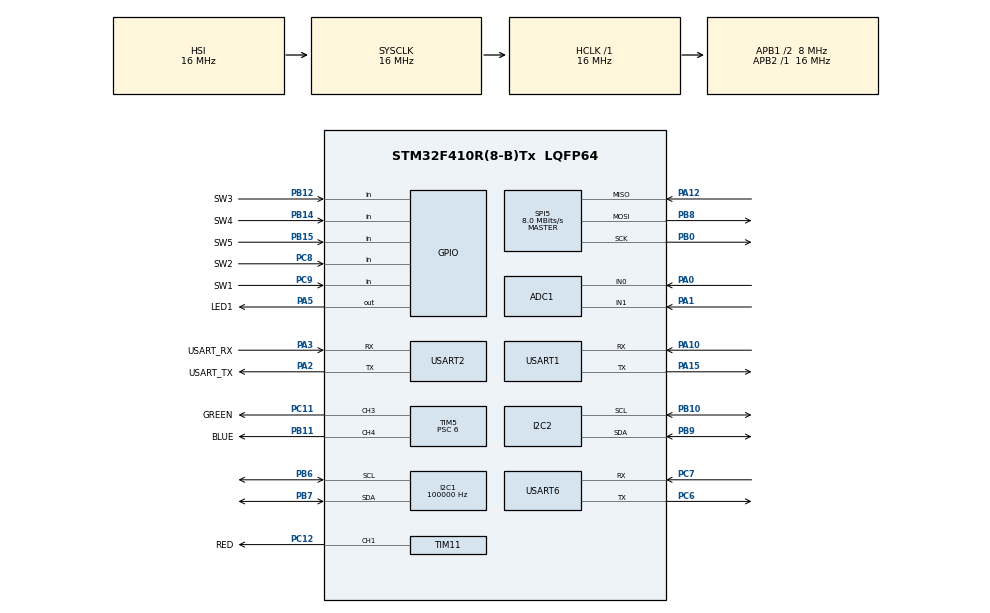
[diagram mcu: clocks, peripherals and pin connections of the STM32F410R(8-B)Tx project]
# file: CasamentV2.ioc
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ADC1.Channel-0\#ChannelRegularConversion=ADC_CHANNEL_0
ADC1.NbrOfConversionFlag=1
ADC1.Rank-0\#ChannelRegularConversion=1
ADC1.SamplingTime-0\#ChannelRegularConversion=ADC_SAMPLETIME_3CYCLES
ADC1.master=1
I2C1.ClockSpeed=100000
I2C1.I2C_Mode=I2C_Standard
Mcu.Family=STM32F4
Mcu.Name=STM32F410R(8-B)Tx
Mcu.Package=LQFP64
NVIC.PriorityGroup=NVIC_PRIORITYGROUP_0
PA0-WKUP.Signal=ADCx_IN0
PA1.Signal=ADCx_IN1
PA10.Mode=Asynchronous
PA10.Signal=USART1_RX
PA12.Mode=Full_Duplex_Master
PA12.Signal=SPI5_MISO
PA13.GPIO_Label=TMS
PA13.Mode=Serial_Wire
PA13.Signal=SYS_JTMS-SWDIO
PA14.GPIO_Label=TCK
PA14.Mode=Serial_Wire
PA14.Signal=SYS_JTCK-SWCLK
PA15.Mode=Asynchronous
PA15.Signal=USART1_TX
PA2.GPIO_Label=USART_TX
PA2.Mode=Asynchronous
PA2.Signal=USART2_TX
PA3.GPIO_Label=USART_RX
PA3.Mode=Asynchronous
PA3.Signal=USART2_RX
PA5.GPIO_Label=LED1
PA5.Signal=GPIO_Output
PB0.Mode=Full_Duplex_Master
PB0.Signal=SPI5_SCK
PB10.Mode=I2C
PB10.Signal=I2C2_SCL
PB11.GPIO_Label=BLUE
PB11.Signal=S_TIM5_CH4
PB12.GPIO_Label=SW3
PB12.GPIO_PuPd=GPIO_PULLDOWN
PB12.Signal=GPIO_Input
PB14.GPIO_Label=SW4
PB14.GPIO_PuPd=GPIO_PULLDOWN
PB14.Signal=GPIO_Input
PB15.GPIO_Label=SW5
PB15.GPIO_PuPd=GPIO_PULLDOWN
PB15.Signal=GPIO_Input
PB3.GPIO_Label=SWO
PB3.Signal=SYS_JTDO-SWO
PB6.Mode=I2C
PB6.Signal=I2C1_SCL
PB7.Mode=I2C
PB7.Signal=I2C1_SDA
PB8.Mode=Full_Duplex_Master
PB8.Signal=SPI5_MOSI
PB9.Mode=I2C
PB9.Signal=I2C2_SDA
PC11.GPIO_Label=GREEN
PC11.Signal=S_TIM5_CH3
PC12.GPIO_Label=RED
PC12.Signal=S_TIM11_CH1
PC14-OSC32_IN.Mode=LSE-External-Oscillator
PC14-OSC32_IN.Signal=RCC_OSC32_IN
PC15-OSC32_OUT.Mode=LSE-External-Oscillator
PC15-OSC32_OUT.Signal=RCC_OSC32_OUT
PC6.Mode=Asynchronous
PC6.Signal=USART6_TX
PC7.Mode=Asynchronous
PC7.Signal=USART6_RX
PC8.GPIO_Label=SW2
PC8.GPIO_PuPd=GPIO_PULLDOWN
PC8.Signal=GPIO_Input
PC9.GPIO_Label=SW1
PC9.GPIO_Mode=GPIO_MODE_INPUT
PC9.GPIO_PuPd=GPIO_PULLDOWN
PC9.Signal=GPIO_Input
ProjectManager.HeapSize=0x200
ProjectManager.StackSize=0x400
ProjectManager.TargetToolchain=STM32CubeIDE
RCC.48MHZClocksFreq_Value=50000000
RCC.AHBFreq_Value=16000000
RCC.APB1CLKDivider=RCC_HCLK_DIV2
RCC.APB1Freq_Value=8000000
RCC.APB1TimFreq_Value=16000000
RCC.APB2Freq_Value=16000000
RCC.APB2TimFreq_Value=16000000
RCC.CortexFreq_Value=16000000
RCC.FLatency-AdvancedSettings=FLASH_LATENCY_0
RCC.HCLKFreq_Value=16000000
RCC.HSE_VALUE=8000000
RCC.HSI_VALUE=16000000
RCC.PLLM=8
RCC.PLLN=100
RCC.RCC_RTC_Clock_SourceVirtual=RCC_RTCCLKSOURCE_LSE
RCC.SYSCLKFreq_VALUE=16000000
RCC.VCOOutputFreq_Value=200000000
RTC.Format=RTC_FORMAT_BIN
SH.ADCx_IN0.0=ADC1_IN0,IN0
SH.ADCx_IN1.0=ADC1_IN1,IN1
SH.S_TIM11_CH1.0=TIM11_CH1,PWM Generation1 CH1
SH.S_TIM5_CH3.0=TIM5_CH3,PWM Generation3 CH3
SH.S_TIM5_CH4.0=TIM5_CH4,PWM Generation4 CH4
SPI5.CalculateBaudRate=8.0 MBits/s
SPI5.Direction=SPI_DIRECTION_2LINES
SPI5.Mode=SPI_MODE_MASTER
SPI5.VirtualType=VM_MASTER
TIM11.Channel=TIM_CHANNEL_1
TIM11.Period=255
TIM11.Prescaler=6
TIM11.Pulse=0
TIM5.Channel-PWM\ Generation3\ CH3=TIM_CHANNEL_3
TIM5.Channel-PWM\ Generation4\ CH4=TIM_CHANNEL_4
TIM5.Period=255
TIM5.Prescaler=6
USART1.OverSampling=UART_OVERSAMPLING_16
USART1.VirtualMode=VM_ASYNC
USART2.VirtualMode=VM_ASYNC
USART6.VirtualMode=VM_ASYNC
VP_RTC_VS_RTC_Activate.Mode=RTC_Enabled
VP_RTC_VS_RTC_Calendar.Mode=RTC_Calendar
VP_TIM11_VS_ClockSourceINT.Mode=Enable_Timer
board=NUCLEO-F410RB

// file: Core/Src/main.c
/* USER CODE BEGIN Header */
/**
  ******************************************************************************
  * @file           : main.c
  * @brief          : Main program body
  ******************************************************************************
  * @attention
  *
  * Copyright (c) 2023 STMicroelectronics.
  * All rights reserved.
  *
  * This software is licensed under terms that can be found in the LICENSE file
  * in the root directory of this software component.
  * If no LICENSE file comes with this software, it is provided AS-IS.
  *
  ******************************************************************************
  */
/* USER CODE END Header */
#include "main.h"

/* USER CODE BEGIN PD */
//colors

/* USER CODE END PD */

ADC_HandleTypeDef hadc1;

I2C_HandleTypeDef hi2c1;
I2C_HandleTypeDef hi2c2;

RTC_HandleTypeDef hrtc;

SPI_HandleTypeDef hspi5;

TIM_HandleTypeDef htim5;
TIM_HandleTypeDef htim11;

UART_HandleTypeDef huart1;
UART_HandleTypeDef huart2;
UART_HandleTypeDef huart6;

/* USER CODE BEGIN PV */
uint8_t var1 = 0;
//UART1=J3
//UART6=J2
//UART2=ICSP
int __io_putchar(int ch){
	HAL_UART_Transmit(&huart2, (uint8_t *)&ch, 1, 100);
	return ch;
}

uint8_t actualzarhora = 0;
//variables snake
extern int score;
//veriables del menu
bool snake_en = false; //engenga la pantalla de l'snake.
bool simon_en = false;
bool boad_en = false;
//veriable del simon
uint8_t control_error = 0;

/* USER CODE END PV */

void SystemClock_Config(void);
static void MX_GPIO_Init(void);
static void MX_USART2_UART_Init(void);
static void MX_TIM11_Init(void);
static void MX_TIM5_Init(void);
static void MX_I2C1_Init(void);
static void MX_USART1_UART_Init(void);
static void MX_USART6_UART_Init(void);
static void MX_RTC_Init(void);
static void MX_ADC1_Init(void);
static void MX_I2C2_Init(void);
static void MX_SPI5_Init(void);

int main(void)
{

  /* MCU Configuration--------------------------------------------------------*/

  /* Reset of all peripherals, Initializes the Flash interface and the Systick. */
  HAL_Init();

  /* Configure the system clock */
  SystemClock_Config();

  /* Initialize all configured peripherals */
  MX_GPIO_Init();
  MX_USART2_UART_Init();
  MX_TIM11_Init();
  MX_TIM5_Init();
  MX_I2C1_Init();
  MX_USART1_UART_Init();
  MX_USART6_UART_Init();
  MX_RTC_Init();
  MX_ADC1_Init();
  MX_I2C2_Init();
  MX_SPI5_Init();
  /* USER CODE BEGIN 2 */
  init_RGB();
  ssd1306_Init();
  //iniciar la serp
  init_snake();

  /* USER CODE END 2 */

  /* Infinite loop */
  /* USER CODE BEGIN WHILE */
  printf("A&E Bodorrio Hw 1.2 \r\n");
  while (1)
  {
    /* USER CODE END WHILE */

    /* USER CODE BEGIN 3 */
/*
	  if(HAL_GPIO_ReadPin(SW1_GPIO_Port, SW1_Pin)){
		  LED_RGB(vermell);
	  }
	  else if(HAL_GPIO_ReadPin(SW2_GPIO_Port, SW2_Pin)){
		  LED_RGB(verd);
	  }
	  else if(HAL_GPIO_ReadPin(SW3_GPIO_Port, SW3_Pin)){
	  		  LED_RGB(blau);
	  	  }
	  else if(HAL_GPIO_ReadPin(SW4_GPIO_Port, SW4_Pin)){
	  		  LED_RGB(rosa);
	  	  }
	  else if(HAL_GPIO_ReadPin(SW5_GPIO_Port, SW5_Pin)){
	  		  LED_RGB(groc);
	  	  }

	  else{
		  LED_RGB(blanc);
	  }
*/
	  //joc del snake
	  if(!snake_en && !simon_en && !boad_en){
		  //menu principal, posar la hora i el boto incial.
		  //LED_RGB(vermell);
		  hora();
		  //printf("hola\r\n");

		  //score = 0;
		  menu();
	  }
	  if(snake_en){
		  update_grid();
		  check_food();
		  move_snake();
		  check_collision(false);
		  wait_check();
	  }
	  if(boad_en){
		  boad_init(true);
		  boad_matrix_build();
		  Boat_Send_matrix(0x34, 0x88);
		  update_OLED();
	  }
	  if(simon_en){
		  //test_led();
		  //test_random_LED();
		  Led_Sequence();
		  control_error = SW_Sequence ();
		  if(control_error == 100){
			  init_simon();
		  }
		  HAL_Delay(200);
	  }
	  //HAL_Delay(200);

  }
  /* USER CODE END 3 */
}

void SystemClock_Config(void)
{
  RCC_OscInitTypeDef RCC_OscInitStruct = {0};
  RCC_ClkInitTypeDef RCC_ClkInitStruct = {0};

  /** Configure the main internal regulator output voltage
  */
  __HAL_RCC_PWR_CLK_ENABLE();
  __HAL_PWR_VOLTAGESCALING_CONFIG(PWR_REGULATOR_VOLTAGE_SCALE1);

  /** Initializes the RCC Oscillators according to the specified parameters
  * in the RCC_OscInitTypeDef structure.
  */
  RCC_OscInitStruct.OscillatorType = RCC_OSCILLATORTYPE_HSI|RCC_OSCILLATORTYPE_LSE;
  RCC_OscInitStruct.LSEState = RCC_LSE_ON;
  RCC_OscInitStruct.HSIState = RCC_HSI_ON;
  RCC_OscInitStruct.HSICalibrationValue = RCC_HSICALIBRATION_DEFAULT;
  RCC_OscInitStruct.PLL.PLLState = RCC_PLL_NONE;
  if (HAL_RCC_OscConfig(&RCC_OscInitStruct) != HAL_OK)
  {
    Error_Handler();
  }

  /** Initializes the CPU, AHB and APB buses clocks
  */
  RCC_ClkInitStruct.ClockType = RCC_CLOCKTYPE_HCLK|RCC_CLOCKTYPE_SYSCLK
                              |RCC_CLOCKTYPE_PCLK1|RCC_CLOCKTYPE_PCLK2;
  RCC_ClkInitStruct.SYSCLKSource = RCC_SYSCLKSOURCE_HSI;
  RCC_ClkInitStruct.AHBCLKDivider = RCC_SYSCLK_DIV1;
  RCC_ClkInitStruct.APB1CLKDivider = RCC_HCLK_DIV2;
  RCC_ClkInitStruct.APB2CLKDivider = RCC_HCLK_DIV1;

  if (HAL_RCC_ClockConfig(&RCC_ClkInitStruct, FLASH_LATENCY_0) != HAL_OK)
  {
    Error_Handler();
  }
}

static void MX_ADC1_Init(void)
{

  ADC_ChannelConfTypeDef sConfig = {0};

  /** Configure the global features of the ADC (Clock, Resolution, Data Alignment and number of conversion)
  */
  hadc1.Instance = ADC1;
  hadc1.Init.ClockPrescaler = ADC_CLOCK_SYNC_PCLK_DIV2;
  hadc1.Init.Resolution = ADC_RESOLUTION_12B;
  hadc1.Init.ScanConvMode = DISABLE;
  hadc1.Init.ContinuousConvMode = DISABLE;
  hadc1.Init.DiscontinuousConvMode = DISABLE;
  hadc1.Init.ExternalTrigConvEdge = ADC_EXTERNALTRIGCONVEDGE_NONE;
  hadc1.Init.ExternalTrigConv = ADC_SOFTWARE_START;
  hadc1.Init.DataAlign = ADC_DATAALIGN_RIGHT;
  hadc1.Init.NbrOfConversion = 1;
  hadc1.Init.DMAContinuousRequests = DISABLE;
  hadc1.Init.EOCSelection = ADC_EOC_SINGLE_CONV;
  if (HAL_ADC_Init(&hadc1) != HAL_OK)
  {
    Error_Handler();
  }

  /** Configure for the selected ADC regular channel its corresponding rank in the sequencer and its sample time.
  */
  sConfig.Channel = ADC_CHANNEL_0;
  sConfig.Rank = 1;
  sConfig.SamplingTime = ADC_SAMPLETIME_3CYCLES;
  if (HAL_ADC_ConfigChannel(&hadc1, &sConfig) != HAL_OK)
  {
    Error_Handler();
  }

}

static void MX_I2C1_Init(void)
{

  hi2c1.Instance = I2C1;
  hi2c1.Init.ClockSpeed = 100000;
  hi2c1.Init.DutyCycle = I2C_DUTYCYCLE_2;
  hi2c1.Init.OwnAddress1 = 0;
  hi2c1.Init.AddressingMode = I2C_ADDRESSINGMODE_7BIT;
  hi2c1.Init.DualAddressMode = I2C_DUALADDRESS_DISABLE;
  hi2c1.Init.OwnAddress2 = 0;
  hi2c1.Init.GeneralCallMode = I2C_GENERALCALL_DISABLE;
  hi2c1.Init.NoStretchMode = I2C_NOSTRETCH_DISABLE;
  if (HAL_I2C_Init(&hi2c1) != HAL_OK)
  {
    Error_Handler();
  }

}

static void MX_I2C2_Init(void)
{

  hi2c2.Instance = I2C2;
  hi2c2.Init.ClockSpeed = 100000;
  hi2c2.Init.DutyCycle = I2C_DUTYCYCLE_2;
  hi2c2.Init.OwnAddress1 = 0;
  hi2c2.Init.AddressingMode = I2C_ADDRESSINGMODE_7BIT;
  hi2c2.Init.DualAddressMode = I2C_DUALADDRESS_DISABLE;
  hi2c2.Init.OwnAddress2 = 0;
  hi2c2.Init.GeneralCallMode = I2C_GENERALCALL_DISABLE;
  hi2c2.Init.NoStretchMode = I2C_NOSTRETCH_DISABLE;
  if (HAL_I2C_Init(&hi2c2) != HAL_OK)
  {
    Error_Handler();
  }

}

static void MX_RTC_Init(void)
{

  RTC_TimeTypeDef sTime = {0};
  RTC_DateTypeDef sDate = {0};

  /** Initialize RTC Only
  */
  hrtc.Instance = RTC;
  hrtc.Init.HourFormat = RTC_HOURFORMAT_24;
  hrtc.Init.AsynchPrediv = 127;
  hrtc.Init.SynchPrediv = 255;
  hrtc.Init.OutPut = RTC_OUTPUT_DISABLE;
  hrtc.Init.OutPutPolarity = RTC_OUTPUT_POLARITY_HIGH;
  hrtc.Init.OutPutType = RTC_OUTPUT_TYPE_OPENDRAIN;
  if (HAL_RTC_Init(&hrtc) != HAL_OK)
  {
    Error_Handler();
  }

  /* USER CODE BEGIN Check_RTC_BKUP */
  if(HAL_RTCEx_BKUPRead(&hrtc, RTC_BKP_DR0) != 0x33){
	  BSP_RTC_SetInitialDateTime();
  }
  if(0){

  /* USER CODE END Check_RTC_BKUP */

  /** Initialize RTC and set the Time and Date
  */
  sTime.Hours = 0;
  sTime.Minutes = 0;
  sTime.Seconds = 0;
  sTime.DayLightSaving = RTC_DAYLIGHTSAVING_NONE;
  sTime.StoreOperation = RTC_STOREOPERATION_RESET;
  if (HAL_RTC_SetTime(&hrtc, &sTime, RTC_FORMAT_BIN) != HAL_OK)
  {
    Error_Handler();
  }
  sDate.WeekDay = RTC_WEEKDAY_MONDAY;
  sDate.Month = RTC_MONTH_JANUARY;
  sDate.Date = 1;
  sDate.Year = 0;

  if (HAL_RTC_SetDate(&hrtc, &sDate, RTC_FORMAT_BIN) != HAL_OK)
  {
    Error_Handler();
  }
  }

}

static void MX_SPI5_Init(void)
{

  /* SPI5 parameter configuration*/
  hspi5.Instance = SPI5;
  hspi5.Init.Mode = SPI_MODE_MASTER;
  hspi5.Init.Direction = SPI_DIRECTION_2LINES;
  hspi5.Init.DataSize = SPI_DATASIZE_8BIT;
  hspi5.Init.CLKPolarity = SPI_POLARITY_LOW;
  hspi5.Init.CLKPhase = SPI_PHASE_1EDGE;
  hspi5.Init.NSS = SPI_NSS_SOFT;
  hspi5.Init.BaudRatePrescaler = SPI_BAUDRATEPRESCALER_2;
  hspi5.Init.FirstBit = SPI_FIRSTBIT_MSB;
  hspi5.Init.TIMode = SPI_TIMODE_DISABLE;
  hspi5.Init.CRCCalculation = SPI_CRCCALCULATION_DISABLE;
  hspi5.Init.CRCPolynomial = 15;
  if (HAL_SPI_Init(&hspi5) != HAL_OK)
  {
    Error_Handler();
  }

}

static void MX_TIM5_Init(void)
{

  TIM_MasterConfigTypeDef sMasterConfig = {0};
  TIM_OC_InitTypeDef sConfigOC = {0};

  htim5.Instance = TIM5;
  htim5.Init.Prescaler = 6;
  htim5.Init.CounterMode = TIM_COUNTERMODE_UP;
  htim5.Init.Period = 255;
  htim5.Init.ClockDivision = TIM_CLOCKDIVISION_DIV1;
  htim5.Init.AutoReloadPreload = TIM_AUTORELOAD_PRELOAD_DISABLE;
  if (HAL_TIM_PWM_Init(&htim5) != HAL_OK)
  {
    Error_Handler();
  }
  sMasterConfig.MasterOutputTrigger = TIM_TRGO_RESET;
  sMasterConfig.MasterSlaveMode = TIM_MASTERSLAVEMODE_DISABLE;
  if (HAL_TIMEx_MasterConfigSynchronization(&htim5, &sMasterConfig) != HAL_OK)
  {
    Error_Handler();
  }
  sConfigOC.OCMode = TIM_OCMODE_PWM1;
  sConfigOC.Pulse = 0;
  sConfigOC.OCPolarity = TIM_OCPOLARITY_HIGH;
  sConfigOC.OCFastMode = TIM_OCFAST_DISABLE;
  if (HAL_TIM_PWM_ConfigChannel(&htim5, &sConfigOC, TIM_CHANNEL_3) != HAL_OK)
  {
    Error_Handler();
  }
  if (HAL_TIM_PWM_ConfigChannel(&htim5, &sConfigOC, TIM_CHANNEL_4) != HAL_OK)
  {
    Error_Handler();
  }
  HAL_TIM_MspPostInit(&htim5);

}

static void MX_TIM11_Init(void)
{

  TIM_OC_InitTypeDef sConfigOC = {0};

  htim11.Instance = TIM11;
  htim11.Init.Prescaler = 6;
  htim11.Init.CounterMode = TIM_COUNTERMODE_UP;
  htim11.Init.Period = 255;
  htim11.Init.ClockDivision = TIM_CLOCKDIVISION_DIV1;
  htim11.Init.AutoReloadPreload = TIM_AUTORELOAD_PRELOAD_DISABLE;
  if (HAL_TIM_Base_Init(&htim11) != HAL_OK)
  {
    Error_Handler();
  }
  if (HAL_TIM_PWM_Init(&htim11) != HAL_OK)
  {
    Error_Handler();
  }
  sConfigOC.OCMode = TIM_OCMODE_PWM1;
  sConfigOC.Pulse = 0;
  sConfigOC.OCPolarity = TIM_OCPOLARITY_HIGH;
  sConfigOC.OCFastMode = TIM_OCFAST_DISABLE;
  if (HAL_TIM_PWM_ConfigChannel(&htim11, &sConfigOC, TIM_CHANNEL_1) != HAL_OK)
  {
    Error_Handler();
  }
  HAL_TIM_MspPostInit(&htim11);

}

static void MX_USART1_UART_Init(void)
{

  huart1.Instance = USART1;
  huart1.Init.BaudRate = 115200;
  huart1.Init.WordLength = UART_WORDLENGTH_8B;
  huart1.Init.StopBits = UART_STOPBITS_1;
  huart1.Init.Parity = UART_PARITY_NONE;
  huart1.Init.Mode = UART_MODE_TX_RX;
  huart1.Init.HwFlowCtl = UART_HWCONTROL_NONE;
  huart1.Init.OverSampling = UART_OVERSAMPLING_16;
  if (HAL_UART_Init(&huart1) != HAL_OK)
  {
    Error_Handler();
  }

}

static void MX_USART2_UART_Init(void)
{

  huart2.Instance = USART2;
  huart2.Init.BaudRate = 115200;
  huart2.Init.WordLength = UART_WORDLENGTH_8B;
  huart2.Init.StopBits = UART_STOPBITS_1;
  huart2.Init.Parity = UART_PARITY_NONE;
  huart2.Init.Mode = UART_MODE_TX_RX;
  huart2.Init.HwFlowCtl = UART_HWCONTROL_NONE;
  huart2.Init.OverSampling = UART_OVERSAMPLING_16;
  if (HAL_UART_Init(&huart2) != HAL_OK)
  {
    Error_Handler();
  }

}

static void MX_USART6_UART_Init(void)
{

  huart6.Instance = USART6;
  huart6.Init.BaudRate = 115200;
  huart6.Init.WordLength = UART_WORDLENGTH_8B;
  huart6.Init.StopBits = UART_STOPBITS_1;
  huart6.Init.Parity = UART_PARITY_NONE;
  huart6.Init.Mode = UART_MODE_TX_RX;
  huart6.Init.HwFlowCtl = UART_HWCONTROL_NONE;
  huart6.Init.OverSampling = UART_OVERSAMPLING_16;
  if (HAL_UART_Init(&huart6) != HAL_OK)
  {
    Error_Handler();
  }

}

static void MX_GPIO_Init(void)
{
  GPIO_InitTypeDef GPIO_InitStruct = {0};

  /* GPIO Ports Clock Enable */
  __HAL_RCC_GPIOC_CLK_ENABLE();
  __HAL_RCC_GPIOA_CLK_ENABLE();
  __HAL_RCC_GPIOB_CLK_ENABLE();

  /*Configure GPIO pin Output Level */
  HAL_GPIO_WritePin(LED1_GPIO_Port, LED1_Pin, GPIO_PIN_RESET);

  /*Configure GPIO pin : LED1_Pin */
  GPIO_InitStruct.Pin = LED1_Pin;
  GPIO_InitStruct.Mode = GPIO_MODE_OUTPUT_PP;
  GPIO_InitStruct.Pull = GPIO_NOPULL;
  GPIO_InitStruct.Speed = GPIO_SPEED_FREQ_LOW;
  HAL_GPIO_Init(LED1_GPIO_Port, &GPIO_InitStruct);

  /*Configure GPIO pins : SW3_Pin SW4_Pin SW5_Pin */
  GPIO_InitStruct.Pin = SW3_Pin|SW4_Pin|SW5_Pin;
  GPIO_InitStruct.Mode = GPIO_MODE_INPUT;
  GPIO_InitStruct.Pull = GPIO_PULLDOWN;
  HAL_GPIO_Init(GPIOB, &GPIO_InitStruct);

  /*Configure GPIO pins : SW2_Pin SW1_Pin */
  GPIO_InitStruct.Pin = SW2_Pin|SW1_Pin;
  GPIO_InitStruct.Mode = GPIO_MODE_INPUT;
  GPIO_InitStruct.Pull = GPIO_PULLDOWN;
  HAL_GPIO_Init(GPIOC, &GPIO_InitStruct);

}

void Error_Handler(void)
{
  __disable_irq();
  while (1)
  {
  }
}
